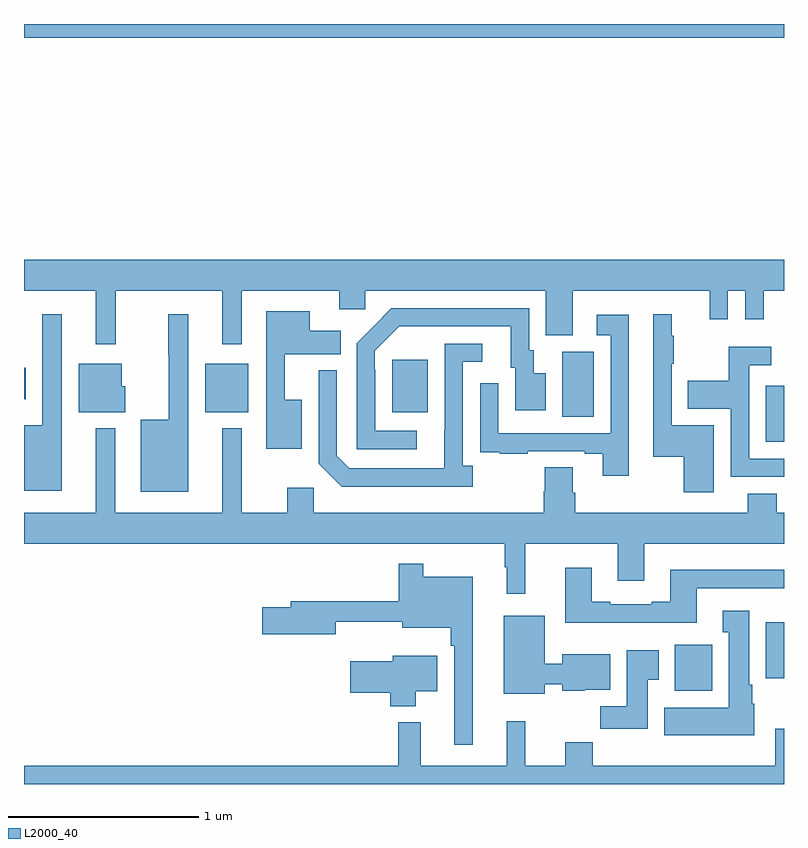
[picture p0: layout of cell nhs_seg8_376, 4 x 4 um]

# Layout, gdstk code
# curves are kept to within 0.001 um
import gdstk
lib = gdstk.Library(unit=1e-6, precision=1e-09)
def R(c, l, rs):  # rectangles x0, y0, x1, y1
    for r in rs: c.add(gdstk.rectangle(r[:2], r[2:], *l))
def P(c, l, *ps):  # polygons
    for p in ps: c.add(gdstk.Polygon(p, *l))
L2000_40 = (2000, 40)

nhs_seg8_376 = lib.new_cell('nhs_seg8_376')
R(nhs_seg8_376, L2000_40, [(138.425,1118.39,138.622,1118.632), (138.905,1118.456,139,1118.752), (138.905,1119.701,139,1119.997), (137.834,1119.832,137.998,1120.176), (135.953,1119.857,136.18,1120.111), (136.937,1119.857,137.125,1120.132), (135,1119.926,135.01,1120.092), (135,1121.828,139,1121.9)])
P(nhs_seg8_376, L2000_40, [(135.484,1120.496),(136.043,1120.496),(136.043,1120.215),(136.147,1120.215),(136.147,1120.496),(136.658,1120.496),(136.658,1120.398),(136.797,1120.398),(136.797,1120.496),(137.747,1120.496),(137.747,1120.261),(137.887,1120.261),(137.887,1120.496),(138.608,1120.496),(138.608,1120.347),(138.705,1120.347),(138.705,1120.496),(138.795,1120.496),(138.795,1120.347),(138.893,1120.347),(138.893,1120.496),(139,1120.496),(139,1120.66),(135,1120.66),(135,1120.496),(135.377,1120.496),(135.377,1120.215),(135.484,1120.215)],
  [(137.068,1119.759),(136.848,1119.759),(136.848,1120.079),(136.845,1120.079),(136.845,1120.179),(136.974,1120.308),(137.561,1120.308),(137.561,1120.092),(137.585,1120.092),(137.585,1119.867),(137.746,1119.867),(137.746,1120.063),(137.683,1120.063),(137.683,1120.182),(137.658,1120.182),(137.658,1120.404),(136.934,1120.404),(136.843,1120.313),(136.844,1120.312),(136.752,1120.221),(136.752,1119.663),(137.068,1119.663)],
  [(136.462,1119.922),(136.373,1119.922),(136.373,1120.163),(136.667,1120.163),(136.667,1120.285),(136.504,1120.285),(136.504,1120.387),(136.275,1120.387),(136.275,1119.665),(136.462,1119.665)],
  [(135.199,1120.372),(135.095,1120.372),(135.095,1119.787),(135,1119.787),(135,1119.443),(135.199,1119.443)],
  [(135.865,1120.372),(135.759,1120.372),(135.759,1120.159),(135.761,1120.159),(135.761,1119.817),(135.614,1119.817),(135.614,1119.437),(135.865,1119.437)],
  [(138.631,1119.787),(138.408,1119.787),(138.408,1120.111),(138.421,1120.111),(138.421,1120.259),(138.41,1120.259),(138.41,1120.372),(138.312,1120.372),(138.312,1119.622),(138.473,1119.622),(138.473,1119.435),(138.631,1119.435)],
  [(138.183,1120.369),(138.015,1120.369),(138.015,1120.263),(138.087,1120.263),(138.087,1119.747),(137.496,1119.747),(137.496,1120.009),(137.4,1120.009),(137.4,1119.754),(137.401,1119.754),(137.401,1119.645),(137.503,1119.645),(137.503,1119.639),(137.651,1119.639),(137.651,1119.651),(137.951,1119.651),(137.951,1119.639),(138.047,1119.639),(138.047,1119.522),(138.183,1119.522)],
  [(137.362,1119.574),(137.31,1119.574),(137.31,1120.122),(137.413,1120.122),(137.413,1120.218),(137.214,1120.218),(137.213,1119.561),(136.713,1119.561),(136.647,1119.627),(136.647,1120.078),(136.551,1120.078),(136.551,1119.585),(136.672,1119.464),(137.362,1119.464)],
  [(139,1119.612),(138.816,1119.612),(138.816,1120.104),(138.934,1120.104),(138.934,1120.201),(138.708,1120.201),(138.708,1120.023),(138.493,1120.023),(138.493,1119.875),(138.72,1119.875),(138.72,1119.516),(139,1119.516)],
  [(135.532,1119.993),(135.514,1119.993),(135.514,1120.111),(135.287,1120.111),(135.287,1119.857),(135.532,1119.857)],
  [(137.639,1119.164),(138.125,1119.164),(138.125,1118.97),(138.265,1118.97),(138.265,1119.164),(139,1119.164),(139,1119.328),(138.962,1119.328),(138.962,1119.427),(138.809,1119.427),(138.809,1119.328),(137.9,1119.328),(137.9,1119.434),(137.887,1119.434),(137.887,1119.566),(137.74,1119.566),(137.74,1119.441),(137.735,1119.441),(137.735,1119.328),(136.524,1119.328),(136.524,1119.46),(136.385,1119.46),(136.385,1119.328),(136.147,1119.328),(136.147,1119.772),(136.043,1119.772),(136.043,1119.328),(135.481,1119.328),(135.481,1119.772),(135.377,1119.772),(135.377,1119.328),(135,1119.328),(135,1119.164),(137.529,1119.164),(137.529,1119.041),(137.54,1119.041),(137.54,1118.901),(137.639,1118.901)],
  [(137.362,1118.992),(137.101,1118.992),(137.101,1119.058),(136.972,1119.058),(136.972,1118.863),(136.403,1118.863),(136.403,1118.829),(136.254,1118.829),(136.254,1118.687),(136.642,1118.687),(136.642,1118.753),(136.991,1118.753),(136.991,1118.723),(137.245,1118.723),(137.245,1118.627),(137.265,1118.627),(137.265,1118.106),(137.362,1118.106)],
  [(138.541,1118.931),(139,1118.931),(139,1119.028),(138.401,1119.028),(138.401,1118.86),(138.305,1118.86),(138.305,1118.847),(138.085,1118.847),(138.085,1118.86),(137.989,1118.86),(137.989,1119.037),(137.849,1119.037),(137.849,1118.75),(138.541,1118.75)],
  [(138.844,1118.322),(138.832,1118.322),(138.832,1118.422),(138.817,1118.422),(138.817,1118.812),(138.677,1118.812),(138.677,1118.699),(138.71,1118.699),(138.71,1118.302),(138.371,1118.302),(138.371,1118.156),(138.844,1118.156)],
  [(137.74,1118.424),(137.834,1118.424),(137.834,1118.39),(137.952,1118.39),(137.952,1118.396),(138.085,1118.396),(138.085,1118.584),(137.834,1118.584),(137.834,1118.534),(137.74,1118.534),(137.74,1118.785),(137.525,1118.785),(137.525,1118.375),(137.74,1118.375)],
  [(138.283,1118.449),(138.34,1118.449),(138.34,1118.605),(138.173,1118.605),(138.173,1118.308),(138.034,1118.308),(138.034,1118.19),(138.283,1118.19)],
  [(137.062,1118.387),(137.176,1118.387),(137.176,1118.575),(136.94,1118.575),(136.94,1118.545),(136.716,1118.545),(136.716,1118.38),(136.928,1118.38),(136.928,1118.309),(137.062,1118.309)],
  [(139,1118.191),(138.953,1118.191),(138.953,1117.996),(137.993,1117.996),(137.993,1118.12),(137.849,1118.12),(137.849,1117.996),(137.639,1117.996),(137.639,1118.23),(137.54,1118.23),(137.54,1117.996),(137.087,1117.996),(137.087,1118.224),(136.969,1118.224),(136.969,1117.996),(135,1117.996),(135,1117.9),(139,1117.9)])

lib.write_gds('nhs_seg8_376.gds')
